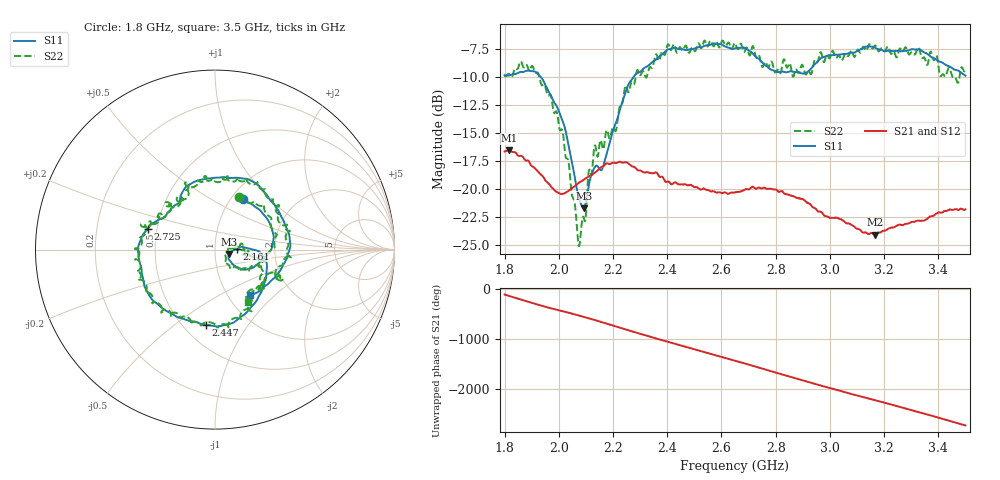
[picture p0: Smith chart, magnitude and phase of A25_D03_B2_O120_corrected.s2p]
! Created with skrf 1.9.0 (http://scikit-rf.org).
# Hz S RI R 50.0
!freq ReS11 ImS11 ReS21 ImS21 ReS12 ImS12 ReS22 ImS22
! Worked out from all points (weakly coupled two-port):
!   1601 points, 1.8 GHz to 3.5 GHz, reference 50 ohm
!   highest |S21| = -16.56 dB at 1.816 GHz (marker M1); lowest = -24.1 dB at 3.165 GHz (marker M2)
!   lowest |S11| = -21.7 dB at 2.092 GHz (marker M3), VSWR 1.18, Z = 58.4 - j2.8 ohm
!   |S11| at or under -10 dB: 1.934 GHz to 2.275 GHz (341.9 MHz wide, 16.2 % of centre)
!   |S22| runs from -25.1 to -6.7 dB; largest |S21 - S12| = 0.0026
!   S11 on the Smith chart (normalised r, x): 1.8 GHz: 1.12, +0.71; 2.161 GHz: 1.28, +0.01; 2.447 GHz: 0.64, -0.65; 2.725 GHz: 0.45, +0.12; 3.5 GHz: 1.26, -0.72
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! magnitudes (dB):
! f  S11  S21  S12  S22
! 1.8 GHz  -9.8  -16.7  -16.7  -9.9
! 1.816 GHz  -9.9  -16.6  -16.6  -9.7
! 1.903 GHz  -9.5  -18.0  -18.0  -9.0
! 1.968 GHz  -11.5  -19.7  -19.7  -11.5
! 2.015 GHz  -14.0  -20.4  -20.5  -14.9
! 2.072 GHz  -20.6  -19.5  -19.5  -24.9
! 2.084 GHz  -21.5  -19.3  -19.3  -23.2
! 2.092 GHz  -21.7  -19.2  -19.2  -22.6
! 2.13 GHz  -18.1  -18.6  -18.6  -16.3
! 2.161 GHz  -18.2  -18.0  -17.9  -16.3
! 2.258 GHz  -10.6  -17.7  -17.7  -11.3
! 2.367 GHz  -8.2  -18.8  -18.7  -8.5
! 2.447 GHz  -7.5  -19.6  -19.6  -7.3
! 2.65 GHz  -7.4  -20.3  -20.3  -7.0
! 2.725 GHz  -8.1  -20.0  -20.0  -8.1
! 2.802 GHz  -9.5  -20.1  -20.1  -9.5
! 2.934 GHz  -9.1  -21.6  -21.5  -9.6
! 3.165 GHz  -7.3  -24.1  -24.1  -7.2
! 3.217 GHz  -7.6  -23.5  -23.5  -7.4
! 3.375 GHz  -8.2  -22.4  -22.4  -7.9
! 3.468 GHz  -9.4  -21.8  -21.8  -10.3
! 3.5 GHz  -9.9  -21.8  -21.8  -9.2
